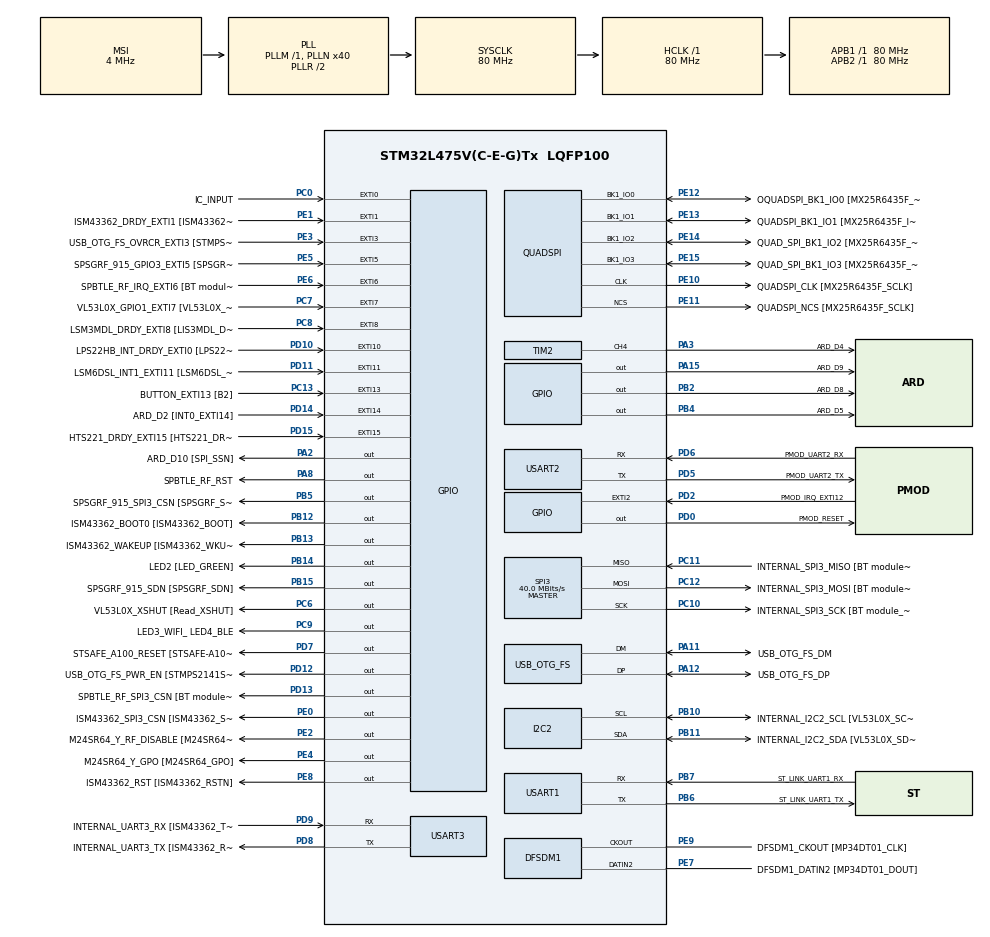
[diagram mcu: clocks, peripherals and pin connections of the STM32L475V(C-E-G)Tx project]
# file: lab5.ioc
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I2C2.Timing=0x10D19CE4
Mcu.Family=STM32L4
Mcu.Name=STM32L475V(C-E-G)Tx
Mcu.Package=LQFP100
NVIC.EXTI0_IRQn=true\:0\:0\:false\:false\:true\:true\:true\:true
NVIC.EXTI15_10_IRQn=true\:0\:0\:false\:false\:true\:true\:true\:true
NVIC.EXTI9_5_IRQn=true\:0\:0\:false\:false\:true\:true\:true\:true
NVIC.PriorityGroup=NVIC_PRIORITYGROUP_4
PA0.GPIO_Label=ARD_D1 [UART4_TX]
PA0.Signal=UART4_TX
PA1.GPIO_Label=ARD_D0 [UART4_RX]
PA1.Signal=UART4_RX
PA10.GPIO_Label=USB_OTG_FS_ID
PA10.Signal=USB_OTG_FS_ID
PA11.GPIO_Label=USB_OTG_FS_DM
PA11.Mode=Device_Only
PA11.Signal=USB_OTG_FS_DM
PA12.GPIO_Label=USB_OTG_FS_DP
PA12.Mode=Device_Only
PA12.Signal=USB_OTG_FS_DP
PA13\ (JTMS-SWDIO).GPIO_Label=SYS_JTMS_SWDIO
PA13\ (JTMS-SWDIO).Mode=Serial_Wire
PA13\ (JTMS-SWDIO).Signal=SYS_JTMS-SWDIO
PA14\ (JTCK-SWCLK).GPIO_Label=SYS_JTCK_SWCLK
PA14\ (JTCK-SWCLK).Mode=Serial_Wire
PA14\ (JTCK-SWCLK).Signal=SYS_JTCK-SWCLK
PA15\ (JTDI).GPIO_Label=ARD_D9
PA15\ (JTDI).Signal=GPIO_Output
PA2.GPIO_Label=ARD_D10 [SPI_SSN]
PA2.Signal=GPIO_Output
PA3.GPIO_Label=ARD_D4
PA3.Signal=S_TIM2_CH4
PA4.GPIO_Label=ARD_D7
PA4.Signal=ADCx_IN9
PA5.GPIO_Label=ARD_D13 [SPI1_SCK]
PA5.Signal=SPI1_SCK
PA6.GPIO_Label=ARD_D12 [SPI1_MISO]
PA6.Signal=SPI1_MISO
PA7.GPIO_Label=ARD_D11 [SPI1_MOSI]
PA7.Signal=SPI1_MOSI
PA8.GPIO_Label=SPBTLE_RF_RST
PA8.Signal=GPIO_Output
PA9.GPIO_Label=USB_OTG_FS_VBUS [STMPS2141STR_OUT]
PA9.Signal=USB_OTG_FS_VBUS
PB1.GPIO_Label=ARD_D6 [ADC1_IN6]
PB1.Signal=ADCx_IN16
PB10.GPIO_Label=INTERNAL_I2C2_SCL [VL53L0X_SCL]
PB10.GPIO_Pu=GPIO_PULLUP
PB10.Mode=I2C
PB10.Signal=I2C2_SCL
PB11.GPIO_Label=INTERNAL_I2C2_SDA [VL53L0X_SDA]
PB11.GPIO_Pu=GPIO_PULLUP
PB11.Mode=I2C
PB11.Signal=I2C2_SDA
PB12.GPIO_Label=ISM43362_BOOT0 [ISM43362_BOOT]
PB12.Signal=GPIO_Output
PB13.GPIO_Label=ISM43362_WAKEUP [ISM43362_WKUP]
PB13.Signal=GPIO_Output
PB14.GPIO_Label=LED2 [LED_GREEN]
PB14.Signal=GPIO_Output
PB15.GPIO_Label=SPSGRF_915_SDN [SPSGRF_SDN]
PB15.Signal=GPIO_Output
PB2.GPIO_Label=ARD_D8
PB2.Signal=GPIO_Output
PB3\ (JTDO-TRACESWO).GPIO_Label=SYS_JTD0_SWO
PB3\ (JTDO-TRACESWO).Signal=SYS_JTDO-SWO
PB4\ (NJTRST).GPIO_Label=ARD_D5
PB4\ (NJTRST).Signal=GPIO_Output
PB5.GPIO_Label=SPSGRF_915_SPI3_CSN [SPSGRF_SPI_CS]
PB5.PinState=GPIO_PIN_SET
PB5.Signal=GPIO_Output
PB6.GPIO_Label=ST_LINK_UART1_TX
PB6.Mode=Asynchronous
PB6.Signal=USART1_TX
PB7.GPIO_Label=ST_LINK_UART1_RX
PB7.Mode=Asynchronous
PB7.Signal=USART1_RX
PB8.GPIO_Label=ARD_D15 [I2C1_SCL]
PB8.Signal=I2C1_SCL
PB9.GPIO_Label=ARD_D14 [I2C1_SDA]
PB9.Signal=I2C1_SDA
PC0.GPIO_Label=IC_INPUT
PC0.GPIO_ModeDefaultEXTI=GPIO_MODE_IT_RISING_FALLING
PC0.Signal=GPXTI0
PC1.GPIO_Label=ARD_A4 [ADC]
PC1.Signal=ADCx_IN2
PC10.GPIO_Label=INTERNAL_SPI3_SCK [BT module_SPI_SCLK] [ISM43362_SCK]
PC10.Mode=Full_Duplex_Master
PC10.Signal=SPI3_SCK
PC11.GPIO_Label=INTERNAL_SPI3_MISO [BT module_SPI_MISO] [ISM43362_MISO]
PC11.Mode=Full_Duplex_Master
PC11.Signal=SPI3_MISO
PC12.GPIO_Label=INTERNAL_SPI3_MOSI [BT module_SPI_MOSI] [ISM43362_MOSI]
PC12.Mode=Full_Duplex_Master
PC12.Signal=SPI3_MOSI
PC13.GPIO_Label=BUTTON_EXTI13 [B2]
PC13.GPIO_ModeDefaultEXTI=GPIO_MODE_IT_FALLING
PC13.Signal=GPXTI13
PC14-OSC32_IN\ (PC14).Mode=LSE-External-Oscillator
PC14-OSC32_IN\ (PC14).Signal=RCC_OSC32_IN
PC15-OSC32_OUT\ (PC15).Mode=LSE-External-Oscillator
PC15-OSC32_OUT\ (PC15).Signal=RCC_OSC32_OUT
PC2.GPIO_Label=ARD_A3 [ADC]
PC2.Signal=ADCx_IN3
PC3.GPIO_Label=ARD_A2 [ADC]
PC3.Signal=ADCx_IN4
PC4.GPIO_Label=ARD_A1 [ADC]
PC4.Signal=ADCx_IN13
PC5.GPIO_Label=ARD_A0 [ADC]
PC5.Signal=ADCx_IN14
PC6.GPIO_Label=VL53L0X_XSHUT [Read_XSHUT]
PC6.Signal=GPIO_Output
PC7.GPIO_Label=VL53L0X_GPIO1_EXTI7 [VL53L0X_GPIO1]
PC7.Signal=GPXTI7
PC8.GPIO_Label=LSM3MDL_DRDY_EXTI8 [LIS3MDL_DRDY]
PC8.Signal=GPXTI8
PC9.GPIO_Label=LED3_WIFI_ LED4_BLE
PC9.Signal=GPIO_Output
PD0.GPIO_Label=PMOD_RESET
PD0.Signal=GPIO_Output
PD1.GPIO_Label=PMOD_SPI2_SCK
PD1.Signal=SPI2_SCK
PD10.GPIO_Label=LPS22HB_INT_DRDY_EXTI0 [LPS22HB_INT_DRDY] 
PD10.Signal=GPXTI10
PD11.GPIO_Label=LSM6DSL_INT1_EXTI11 [LSM6DSL_INT1]
PD11.Signal=GPXTI11
PD12.GPIO_Label=USB_OTG_FS_PWR_EN [STMPS2141STR_EN]
PD12.Signal=GPIO_Output
PD13.GPIO_Label=SPBTLE_RF_SPI3_CSN [BT module_SPI_CS]
PD13.PinState=GPIO_PIN_SET
PD13.Signal=GPIO_Output
PD14.GPIO_Label=ARD_D2 [INT0_EXTI14]
PD14.Signal=GPXTI14
PD15.GPIO_Label=HTS221_DRDY_EXTI15 [HTS221_DRDY]
PD15.Signal=GPXTI15
PD2.GPIO_Label=PMOD_IRQ_EXTI12
PD2.Signal=GPXTI2
PD3.GPIO_Label=PMOD_UART2_CTS
PD3.Signal=USART2_CTS
PD4.GPIO_Label=PMOD_UART2_RTS
PD4.Signal=USART2_RTS
PD5.GPIO_Label=PMOD_UART2_TX
PD5.Mode=Asynchronous
PD5.Signal=USART2_TX
PD6.GPIO_Label=PMOD_UART2_RX
PD6.Mode=Asynchronous
PD6.Signal=USART2_RX
PD7.GPIO_Label=STSAFE_A100_RESET [STSAFE-A100_RESET]
PD7.Signal=GPIO_Output
PD8.GPIO_Label=INTERNAL_UART3_TX [ISM43362_RX]
PD8.Mode=Asynchronous
PD8.Signal=USART3_TX
PD9.GPIO_Label=INTERNAL_UART3_RX [ISM43362_TX]
PD9.Mode=Asynchronous
PD9.Signal=USART3_RX
PE0.GPIO_Label=ISM43362_SPI3_CSN [ISM43362_SSN]
PE0.PinState=GPIO_PIN_SET
PE0.Signal=GPIO_Output
PE1.GPIO_Label=ISM43362_DRDY_EXTI1 [ISM43362_DATARDY]
PE1.Signal=GPXTI1
PE10.GPIO_Label=QUADSPI_CLK [MX25R6435F_SCLK]
PE10.Mode=Single Bank
PE10.Signal=QUADSPI_CLK
PE11.GPIO_Label=QUADSPI_NCS [MX25R6435F_SCLK]
PE11.Mode=Single Bank
PE11.Signal=QUADSPI_NCS
PE12.GPIO_Label=OQUADSPI_BK1_IO0 [MX25R6435F_IO0]
PE12.Mode=Single Bank
PE12.Signal=QUADSPI_BK1_IO0
PE13.GPIO_Label=QUADSPI_BK1_IO1 [MX25R6435F_IO1]
PE13.Mode=Single Bank
PE13.Signal=QUADSPI_BK1_IO1
PE14.GPIO_Label=QUAD_SPI_BK1_IO2 [MX25R6435F_IO2]
PE14.Mode=Single Bank
PE14.Signal=QUADSPI_BK1_IO2
PE15.GPIO_Label=QUAD_SPI_BK1_IO3 [MX25R6435F_IO3]
PE15.Mode=Single Bank
PE15.Signal=QUADSPI_BK1_IO3
PE2.GPIO_Label=M24SR64_Y_RF_DISABLE [M24SR64_RFDIS]
PE2.Signal=GPIO_Output
PE3.GPIO_Label=USB_OTG_FS_OVRCR_EXTI3 [STMPS2141STR_FAULT]
PE3.Signal=GPXTI3
PE4.GPIO_Label=M24SR64_Y_GPO [M24SR64_GPO]
PE4.Signal=GPIO_Output
PE5.GPIO_Label=SPSGRF_915_GPIO3_EXTI5 [SPSGRF_GPIO_3]
PE5.Signal=GPXTI5
PE6.GPIO_Label=SPBTLE_RF_IRQ_EXTI6 [BT module_SPI_IRQ]
PE6.Signal=GPXTI6
PE7.GPIO_Label=DFSDM1_DATIN2 [MP34DT01_DOUT]
PE7.Signal=S_DATAIN2DFSDM1
PE8.GPIO_Label=ISM43362_RST [ISM43362_RSTN]
PE8.Signal=GPIO_Output
PE9.GPIO_Label=DFSDM1_CKOUT [MP34DT01_CLK]
PE9.Signal=S_CKOUTDFSDM1
ProjectManager.HeapSize=0x200
ProjectManager.StackSize=0x400
ProjectManager.TargetToolchain=Makefile
QUADSPI.ClockPrescaler=2
QUADSPI.FifoThreshold=4
QUADSPI.FlashSize=23
QUADSPI.SampleShifting=QSPI_SAMPLE_SHIFTING_HALFCYCLE
RCC.ADCFreq_Value=48000000
RCC.AHBFreq_Value=80000000
RCC.APB1Freq_Value=80000000
RCC.APB1TimFreq_Value=80000000
RCC.APB2Freq_Value=80000000
RCC.APB2TimFreq_Value=80000000
RCC.CortexFreq_Value=80000000
RCC.HCLKFreq_Value=80000000
RCC.HSE_VALUE=8000000
RCC.HSI_VALUE=16000000
RCC.MSI_VALUE=4000000
RCC.PLLN=40
RCC.PLLSAI1N=24
RCC.SYSCLKFreq_VALUE=80000000
RCC.SYSCLKSource=RCC_SYSCLKSOURCE_PLLCLK
RCC.USBFreq_Value=48000000
RCC.VCOOutputFreq_Value=160000000
SH.ADCx_IN13.0=ADC1_IN13
SH.ADCx_IN14.0=ADC1_IN14
SH.ADCx_IN16.0=ADC1_IN16
SH.ADCx_IN2.0=ADC1_IN2
SH.ADCx_IN3.0=ADC1_IN3
SH.ADCx_IN4.0=ADC1_IN4
SH.ADCx_IN9.0=ADC1_IN9
SH.S_CKOUTDFSDM1.0=DFSDM1_CKOUT,CKOUT
SH.S_CKOUTDFSDM1.1=DFSDM1_CKOUT,PDM_SPI_Input_from_ch12_and_Internal_Clock
SH.S_DATAIN2DFSDM1.0=DFSDM1_DATIN2,PDM_SPI_Input_from_ch12_and_Internal_Clock
SH.S_TIM2_CH4.0=TIM2_CH4,PWM Generation4 CH4
SPI3.CalculateBaudRate=40.0 MBits/s
SPI3.Direction=SPI_DIRECTION_2LINES
SPI3.Mode=SPI_MODE_MASTER
SPI3.VirtualType=VM_MASTER
TIM2.AutoReloadPreload=TIM_AUTORELOAD_PRELOAD_ENABLE
TIM2.Channel-PWM\ Generation4\ CH4=TIM_CHANNEL_4
TIM2.Period=999
TIM2.Prescaler=79
TIM2.Pulse-PWM\ Generation4\ CH4=500
USART1.VirtualMode-Asynchronous=VM_ASYNC
USART2.VirtualMode-Asynchronous=VM_ASYNC
USART3.VirtualMode-Asynchronous=VM_ASYNC
USB_OTG_FS.VirtualMode=Device_Only
VP_TIM2_VS_ClockSourceINT.Mode=Internal
board=B-L475E-IOT01A1

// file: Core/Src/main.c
/* USER CODE BEGIN Header */
/**
  ******************************************************************************
  * @file           : main.c
  * @brief          : Main program body
  ******************************************************************************
  * @attention
  *
  * Copyright (c) 2026 STMicroelectronics.
  * All rights reserved.
  *
  * This software is licensed under terms that can be found in the LICENSE file
  * in the root directory of this software component.
  * If no LICENSE file comes with this software, it is provided AS-IS.
  *
  ******************************************************************************
  */
/* USER CODE END Header */
#include "main.h"
#include "dfsdm.h"
#include "i2c.h"
#include "quadspi.h"
#include "spi.h"
#include "tim.h"
#include "usart.h"
#include "usb_otg.h"
#include "gpio.h"

/* USER CODE BEGIN Includes */
#include <stdio.h>
#include <string.h>
/* USER CODE END Includes */

/* USER CODE BEGIN PV */
/* Duty cycle */
const uint32_t duty_table[] = {100, 250, 500, 750, 900};
const char* duty_labels[]   = {"10%", "25%", "50%", "75%", "90%"};
#define DUTY_TABLE_SIZE 5
volatile uint8_t duty_index = 2;  /* Initialize 50% */

/* Input Capture Variables */
volatile uint32_t ic_rise1  = 0;
volatile uint32_t ic_fall   = 0;
volatile uint32_t ic_rise2  = 0;
volatile uint8_t  ic_state  = 0;
volatile uint8_t  ic_ready  = 0;
/* USER CODE END PV */

void SystemClock_Config(void);

int main(void)
{

  /* MCU Configuration--------------------------------------------------------*/

  /* Reset of all peripherals, Initializes the Flash interface and the Systick. */
  HAL_Init();

  /* Configure the system clock */
  SystemClock_Config();

  /* Initialize all configured peripherals */
  MX_GPIO_Init();
  MX_DFSDM1_Init();
  MX_I2C2_Init();
  MX_QUADSPI_Init();
  MX_SPI3_Init();
  MX_TIM2_Init();
  MX_USART1_UART_Init();
  MX_USART2_UART_Init();
  MX_USART3_UART_Init();
  MX_USB_OTG_FS_PCD_Init();
  /* USER CODE BEGIN 2 */
  CoreDebug->DEMCR |= CoreDebug_DEMCR_TRCENA_Msk;
  DWT->CYCCNT = 0;
  DWT->CTRL |= DWT_CTRL_CYCCNTENA_Msk;

  HAL_TIM_PWM_Start(&htim2, TIM_CHANNEL_4);
  __HAL_TIM_SET_COMPARE(&htim2, TIM_CHANNEL_4, duty_table[duty_index]);
  printf("\r\nPWM Lab Started\r\n");
  printf("Initial duty cycle: %s\r\n", duty_labels[duty_index]);
  /* USER CODE END 2 */

  /* Infinite loop */
  while (1)
  {

    /* USER CODE BEGIN 3 */
  if (ic_ready)
  {
    ic_ready = 0;

    uint32_t pulse     = ic_fall  - ic_rise1;
    uint32_t period    = ic_rise2 - ic_rise1;
    uint32_t pulse_us  = pulse  / 80;
    uint32_t period_us = period / 80;
    uint32_t duty_int  = (pulse * 100) / period;
    uint32_t duty_frac = (pulse * 1000 / period) % 10;

    static uint32_t last_print = 0;
    uint32_t now = HAL_GetTick();

    if (now - last_print >= 500)
    {
      last_print = now;
      printf("---------------------------\r\n");
      printf("Set Duty   : %s\r\n",        duty_labels[duty_index]);
      printf("Pulse Width: %lu us\r\n",    pulse_us);
      printf("Period     : %lu us\r\n",    period_us);
      printf("Meas Duty  : %lu.%lu%%\r\n", duty_int, duty_frac);
    }
  }
  }
  /* USER CODE END 3 */
}

void SystemClock_Config(void)
{
  RCC_OscInitTypeDef RCC_OscInitStruct = {0};
  RCC_ClkInitTypeDef RCC_ClkInitStruct = {0};

  /** Configure the main internal regulator output voltage
  */
  if (HAL_PWREx_ControlVoltageScaling(PWR_REGULATOR_VOLTAGE_SCALE1) != HAL_OK)
  {
    Error_Handler();
  }

  /** Configure LSE Drive Capability
  */
  HAL_PWR_EnableBkUpAccess();
  __HAL_RCC_LSEDRIVE_CONFIG(RCC_LSEDRIVE_LOW);

  /** Initializes the RCC Oscillators according to the specified parameters
  * in the RCC_OscInitTypeDef structure.
  */
  RCC_OscInitStruct.OscillatorType = RCC_OSCILLATORTYPE_LSE|RCC_OSCILLATORTYPE_MSI;
  RCC_OscInitStruct.LSEState = RCC_LSE_ON;
  RCC_OscInitStruct.MSIState = RCC_MSI_ON;
  RCC_OscInitStruct.MSICalibrationValue = 0;
  RCC_OscInitStruct.MSIClockRange = RCC_MSIRANGE_6;
  RCC_OscInitStruct.PLL.PLLState = RCC_PLL_ON;
  RCC_OscInitStruct.PLL.PLLSource = RCC_PLLSOURCE_MSI;
  RCC_OscInitStruct.PLL.PLLM = 1;
  RCC_OscInitStruct.PLL.PLLN = 40;
  RCC_OscInitStruct.PLL.PLLP = RCC_PLLP_DIV7;
  RCC_OscInitStruct.PLL.PLLQ = RCC_PLLQ_DIV2;
  RCC_OscInitStruct.PLL.PLLR = RCC_PLLR_DIV2;
  if (HAL_RCC_OscConfig(&RCC_OscInitStruct) != HAL_OK)
  {
    Error_Handler();
  }

  /** Initializes the CPU, AHB and APB buses clocks
  */
  RCC_ClkInitStruct.ClockType = RCC_CLOCKTYPE_HCLK|RCC_CLOCKTYPE_SYSCLK
                              |RCC_CLOCKTYPE_PCLK1|RCC_CLOCKTYPE_PCLK2;
  RCC_ClkInitStruct.SYSCLKSource = RCC_SYSCLKSOURCE_PLLCLK;
  RCC_ClkInitStruct.AHBCLKDivider = RCC_SYSCLK_DIV1;
  RCC_ClkInitStruct.APB1CLKDivider = RCC_HCLK_DIV1;
  RCC_ClkInitStruct.APB2CLKDivider = RCC_HCLK_DIV1;

  if (HAL_RCC_ClockConfig(&RCC_ClkInitStruct, FLASH_LATENCY_4) != HAL_OK)
  {
    Error_Handler();
  }

  /** Enable MSI Auto calibration
  */
  HAL_RCCEx_EnableMSIPLLMode();
}

/* USER CODE BEGIN 4 */

void HAL_GPIO_EXTI_Callback(uint16_t GPIO_Pin)
{
  if (GPIO_Pin == GPIO_PIN_13)
  {
    printf("Button pressed\r\n");
    duty_index = (duty_index + 1) % DUTY_TABLE_SIZE;
    __HAL_TIM_SET_COMPARE(&htim2, TIM_CHANNEL_4, duty_table[duty_index]);
    printf("Duty cycle -> %s\r\n", duty_labels[duty_index]);

    ic_state = 0;
    ic_ready = 0;
  }

  if (GPIO_Pin == GPIO_PIN_0)
  {
    uint32_t cnt = DWT->CYCCNT;
    static uint8_t last_pin = 0;
    uint8_t pin = HAL_GPIO_ReadPin(IC_INPUT_GPIO_Port, IC_INPUT_Pin);

    if (pin == last_pin)
    {
      return;
    }
    last_pin = pin;

    if (ic_state == 0 && pin == 1)
    {
      ic_rise1 = cnt;
      ic_state = 1;
  }
    else if (ic_state == 1 && pin == 0)
    {
      ic_fall  = cnt;
      ic_state = 2;
  }
    else if (ic_state == 2 && pin == 1)
    {
      ic_rise2 = cnt;
      ic_state = 0;
      ic_ready = 1;
    }
    else
    {
      ic_state = 0;
    }
  }
}

int _write(int file, char *ptr, int len)
{
  HAL_UART_Transmit(&huart1, (uint8_t *)ptr, len, HAL_MAX_DELAY);
  return len;
}

/* USER CODE END 4 */

void Error_Handler(void)
{
  __disable_irq();
  while (1)
  {
  }
}
